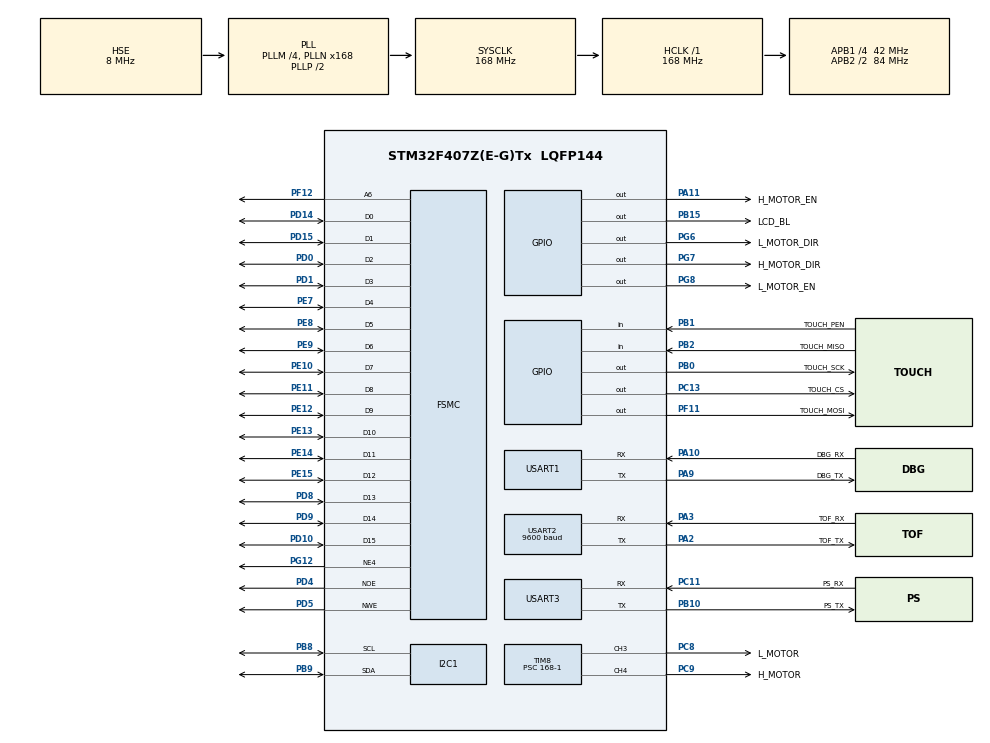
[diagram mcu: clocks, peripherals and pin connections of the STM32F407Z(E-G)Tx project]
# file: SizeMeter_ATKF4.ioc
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FSMC.BusTurnAroundDuration1=0
FSMC.DataSetupTime1=60
FSMC.ExtendedAddressSetupTime1=3
FSMC.ExtendedBusTurnAroundDuration1=0
FSMC.ExtendedDataSetupTime1=3
FSMC.ExtendedMode1=FSMC_EXTENDED_MODE_ENABLE
Mcu.Family=STM32F4
Mcu.Name=STM32F407Z(E-G)Tx
Mcu.Package=LQFP144
NVIC.PriorityGroup=NVIC_PRIORITYGROUP_4
NVIC.TIM1_TRG_COM_TIM11_IRQn=true\:7\:0\:true\:false\:true\:true\:true
NVIC.TIM8_TRG_COM_TIM14_IRQn=true\:13\:0\:true\:false\:true\:true\:true
NVIC.TIM8_UP_TIM13_IRQn=true\:10\:0\:true\:false\:true\:true\:true
NVIC.USART2_IRQn=true\:0\:0\:true\:false\:true\:true\:true
NVIC.USART3_IRQn=true\:0\:0\:false\:false\:true\:true\:true
PA10.GPIO_Label=DBG_RX
PA10.GPIO_Speed=GPIO_SPEED_FREQ_LOW
PA10.Mode=Asynchronous
PA10.Signal=USART1_RX
PA11.GPIO_Label=H_MOTOR_EN
PA11.Signal=GPIO_Output
PA13.Mode=Serial_Wire
PA13.Signal=SYS_JTMS-SWDIO
PA14.Mode=Serial_Wire
PA14.Signal=SYS_JTCK-SWCLK
PA2.GPIO_Label=TOF_TX
PA2.GPIO_Speed=GPIO_SPEED_FREQ_LOW
PA2.Mode=Asynchronous
PA2.Signal=USART2_TX
PA3.GPIO_Label=TOF_RX
PA3.GPIO_Speed=GPIO_SPEED_FREQ_LOW
PA3.Mode=Asynchronous
PA3.Signal=USART2_RX
PA9.GPIO_Label=DBG_TX
PA9.GPIO_Speed=GPIO_SPEED_FREQ_LOW
PA9.Mode=Asynchronous
PA9.Signal=USART1_TX
PB0.GPIO_Label=TOUCH_SCK
PB0.Signal=GPIO_Output
PB1.GPIO_Label=TOUCH_PEN
PB1.Signal=GPIO_Input
PB10.GPIO_Label=PS_TX
PB10.GPIO_Speed=GPIO_SPEED_FREQ_LOW
PB10.Mode=Asynchronous
PB10.Signal=USART3_TX
PB15.GPIO_Label=LCD_BL
PB15.Signal=GPIO_Output
PB2.GPIO_Label=TOUCH_MISO
PB2.Signal=GPIO_Input
PB8.Mode=I2C
PB8.Signal=I2C1_SCL
PB9.Mode=I2C
PB9.Signal=I2C1_SDA
PC11.GPIO_Label=PS_RX
PC11.GPIO_Speed=GPIO_SPEED_FREQ_LOW
PC11.Mode=Asynchronous
PC11.Signal=USART3_RX
PC13-ANTI_TAMP.GPIO_Label=TOUCH_CS
PC13-ANTI_TAMP.Signal=GPIO_Output
PC8.GPIO_Label=L_MOTOR
PC8.Signal=S_TIM8_CH3
PC9.GPIO_Label=H_MOTOR
PC9.Signal=S_TIM8_CH4
PD0.Signal=FSMC_D2_DA2
PD1.Signal=FSMC_D3_DA3
PD10.Signal=FSMC_D15_DA15
PD14.Signal=FSMC_D0_DA0
PD15.Signal=FSMC_D1_DA1
PD4.Signal=FSMC_NOE
PD5.Signal=FSMC_NWE
PD8.Signal=FSMC_D13_DA13
PD9.Signal=FSMC_D14_DA14
PE10.Signal=FSMC_D7_DA7
PE11.Signal=FSMC_D8_DA8
PE12.Signal=FSMC_D9_DA9
PE13.Signal=FSMC_D10_DA10
PE14.Signal=FSMC_D11_DA11
PE15.Signal=FSMC_D12_DA12
PE7.Signal=FSMC_D4_DA4
PE8.Signal=FSMC_D5_DA5
PE9.Signal=FSMC_D6_DA6
PF11.GPIO_Label=TOUCH_MOSI
PF11.Signal=GPIO_Output
PF12.Signal=FSMC_A6
PG12.Mode=NorPsramChipSelect4_1
PG12.Signal=FSMC_NE4
PG6.GPIO_Label=L_MOTOR_DIR
PG6.Signal=GPIO_Output
PG7.GPIO_Label=H_MOTOR_DIR
PG7.Signal=GPIO_Output
PG8.GPIO_Label=L_MOTOR_EN
PG8.Signal=GPIO_Output
PH0-OSC_IN.Mode=HSE-External-Oscillator
PH0-OSC_IN.Signal=RCC_OSC_IN
PH1-OSC_OUT.Mode=HSE-External-Oscillator
PH1-OSC_OUT.Signal=RCC_OSC_OUT
ProjectManager.HeapSize=0x200
ProjectManager.StackSize=0x400
ProjectManager.TargetToolchain=SW4STM32
RCC.48MHZClocksFreq_Value=84000000
RCC.AHBFreq_Value=168000000
RCC.APB1CLKDivider=RCC_HCLK_DIV4
RCC.APB1Freq_Value=42000000
RCC.APB1TimFreq_Value=84000000
RCC.APB2CLKDivider=RCC_HCLK_DIV2
RCC.APB2Freq_Value=84000000
RCC.APB2TimFreq_Value=168000000
RCC.CortexFreq_Value=168000000
RCC.HCLKFreq_Value=168000000
RCC.HSE_VALUE=8000000
RCC.HSI_VALUE=16000000
RCC.LSE_VALUE=32768
RCC.PLLM=4
RCC.PLLN=168
RCC.PLLSourceVirtual=RCC_PLLSOURCE_HSE
RCC.SYSCLKFreq_VALUE=168000000
RCC.SYSCLKSource=RCC_SYSCLKSOURCE_PLLCLK
RCC.VCOOutputFreq_Value=336000000
SH.FSMC_A6.0=FSMC_A6,A6_1
SH.FSMC_D0_DA0.0=FSMC_D0,16b-d1
SH.FSMC_D10_DA10.0=FSMC_D10,16b-d1
SH.FSMC_D11_DA11.0=FSMC_D11,16b-d1
SH.FSMC_D12_DA12.0=FSMC_D12,16b-d1
SH.FSMC_D13_DA13.0=FSMC_D13,16b-d1
SH.FSMC_D14_DA14.0=FSMC_D14,16b-d1
SH.FSMC_D15_DA15.0=FSMC_D15,16b-d1
SH.FSMC_D1_DA1.0=FSMC_D1,16b-d1
SH.FSMC_D2_DA2.0=FSMC_D2,16b-d1
SH.FSMC_D3_DA3.0=FSMC_D3,16b-d1
SH.FSMC_D4_DA4.0=FSMC_D4,16b-d1
SH.FSMC_D5_DA5.0=FSMC_D5,16b-d1
SH.FSMC_D6_DA6.0=FSMC_D6,16b-d1
SH.FSMC_D7_DA7.0=FSMC_D7,16b-d1
SH.FSMC_D8_DA8.0=FSMC_D8,16b-d1
SH.FSMC_D9_DA9.0=FSMC_D9,16b-d1
SH.FSMC_NOE.0=FSMC_NOE,Lcd1
SH.FSMC_NWE.0=FSMC_NWE,Lcd1
SH.S_TIM8_CH3.0=TIM8_CH3,PWM Generation3 CH3
SH.S_TIM8_CH4.0=TIM8_CH4,PWM Generation4 CH4
TIM11.Period=10000-1
TIM11.Prescaler=16800-1
TIM13.AutoReloadPreload=TIM_AUTORELOAD_PRELOAD_ENABLE
TIM13.Prescaler=840-1
TIM14.AutoReloadPreload=TIM_AUTORELOAD_PRELOAD_ENABLE
TIM14.Period=5000-1
TIM14.Prescaler=84-1
TIM8.Channel-PWM\ Generation3\ CH3=TIM_CHANNEL_3
TIM8.Channel-PWM\ Generation4\ CH4=TIM_CHANNEL_4
TIM8.Period=500-1
TIM8.Prescaler=168-1
USART1.VirtualMode=VM_ASYNC
USART2.BaudRate=9600
USART2.VirtualMode=VM_ASYNC
USART3.VirtualMode=VM_ASYNC
VP_TIM11_VS_ClockSourceINT.Mode=Enable_Timer
VP_TIM13_VS_ClockSourceINT.Mode=Enable_Timer
VP_TIM14_VS_ClockSourceINT.Mode=Enable_Timer
board=custom

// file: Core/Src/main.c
/* USER CODE BEGIN Header */
/**
  ******************************************************************************
  * @file           : main.c
  * @brief          : Main program body
  ******************************************************************************
  * @attention
  *
  * <h2><center>&copy; Copyright (c) 2021 STMicroelectronics.
  * All rights reserved.</center></h2>
  *
  * This software component is licensed by ST under BSD 3-Clause license,
  * the "License"; You may not use this file except in compliance with the
  * License. You may obtain a copy of the License at:
  *                        opensource.org/licenses/BSD-3-Clause
  *
  ******************************************************************************
  */
/* USER CODE END Header */
#include "main.h"
#include "i2c.h"
#include "tim.h"
#include "usart.h"
#include "gpio.h"
#include "fsmc.h"

/* USER CODE BEGIN Includes */
#include "lcd.h"
#include "tof.h"
#include "PowerSensor.h"
#include "stdio.h"
#include <porting/lv_port_disp.h>
#include "porting/lv_port_indev.h"
#include <gui_guider.h>
#include <events_init.h>
#include "lvgl.h"
#include "touch.h"
#include "StepMotor.h"
/* USER CODE END Includes */

/* USER CODE BEGIN PV */
lv_ui guider_ui;
/* USER CODE END PV */

void SystemClock_Config(void);
/* USER CODE BEGIN PFP */
int __io_putchar(int ch) {
    uint8_t temp[1] = {ch};
    HAL_UART_Transmit(&huart1, temp, 1, 0xff);
    return (ch);
}
/* USER CODE END PFP */

int main(void)
{

  /* MCU Configuration--------------------------------------------------------*/

  /* Reset of all peripherals, Initializes the Flash interface and the Systick. */
  HAL_Init();

  /* Configure the system clock */
  SystemClock_Config();

  /* Initialize all configured peripherals */
  MX_GPIO_Init();
  MX_FSMC_Init();
  MX_USART1_UART_Init();
  MX_USART2_UART_Init();
  MX_USART3_UART_Init();
  MX_I2C1_Init();
  MX_TIM14_Init();
  MX_TIM13_Init();
  MX_TIM8_Init();
  MX_TIM11_Init();
  /* USER CODE BEGIN 2 */
    lv_init();
    lv_port_disp_init();
    lv_port_indev_init();
    setup_ui(&guider_ui);
    events_init(&guider_ui);

    Motor_Init();

    HAL_TIM_Base_Start_IT(&htim13);
    HAL_TIM_Base_Start_IT(&htim14);

//    LCD_Init();
//    TP_Init();
  /* USER CODE END 2 */

  /* Infinite loop */
  /* USER CODE BEGIN WHILE */
#pragma clang diagnostic push
#pragma ide diagnostic ignored "EndlessLoop"
    while (1) {
//        Lmotor_TurnAngle(25);
//        HAL_Delay(500);
        Hmotor_TurnAngle(45);
        HAL_Delay(500);
//        Lmotor_TurnAngle(-25);
//        HAL_Delay(500);
        Hmotor_TurnAngle(-45);
        HAL_Delay(500);

//        uint16_t tof_dis = TOF_GetDistance();
//        char temp[30];
//        lv_linemeter_set_value(guider_ui.screen_lmeter_1, tof_dis);
//        sprintf(temp, "%d", tof_dis);
//        lv_label_set_text(guider_ui.screen_distance, temp);
//        printf("%d\r\n", tof_dis);
//        LCD_ShowNum(10, 20, tof_dis, 5, 12);
//        PS_GetShapeAndArea();
//        sprintf(temp, "%d", obj.pixel);
//        lv_label_set_text(guider_ui.screen_label_3, temp);
//        LCD_ShowNum(10, 30, (int) obj.color, 1, 12);
//        LCD_ShowNum(10, 40, (int) obj.shape, 1, 12);
//        LCD_ShowNum(10, 50, (int) obj.pixel, 4, 12);
//        printf("%d%d%d\r\n", obj.color, obj.shape, obj.pixel);
    /* USER CODE END WHILE */

    /* USER CODE BEGIN 3 */
    }
#pragma clang diagnostic pop
  /* USER CODE END 3 */
}

void SystemClock_Config(void)
{
  RCC_OscInitTypeDef RCC_OscInitStruct = {0};
  RCC_ClkInitTypeDef RCC_ClkInitStruct = {0};

  /** Configure the main internal regulator output voltage
  */
  __HAL_RCC_PWR_CLK_ENABLE();
  __HAL_PWR_VOLTAGESCALING_CONFIG(PWR_REGULATOR_VOLTAGE_SCALE1);
  /** Initializes the RCC Oscillators according to the specified parameters
  * in the RCC_OscInitTypeDef structure.
  */
  RCC_OscInitStruct.OscillatorType = RCC_OSCILLATORTYPE_HSE;
  RCC_OscInitStruct.HSEState = RCC_HSE_ON;
  RCC_OscInitStruct.PLL.PLLState = RCC_PLL_ON;
  RCC_OscInitStruct.PLL.PLLSource = RCC_PLLSOURCE_HSE;
  RCC_OscInitStruct.PLL.PLLM = 4;
  RCC_OscInitStruct.PLL.PLLN = 168;
  RCC_OscInitStruct.PLL.PLLP = RCC_PLLP_DIV2;
  RCC_OscInitStruct.PLL.PLLQ = 4;
  if (HAL_RCC_OscConfig(&RCC_OscInitStruct) != HAL_OK)
  {
    Error_Handler();
  }
  /** Initializes the CPU, AHB and APB buses clocks
  */
  RCC_ClkInitStruct.ClockType = RCC_CLOCKTYPE_HCLK|RCC_CLOCKTYPE_SYSCLK
                              |RCC_CLOCKTYPE_PCLK1|RCC_CLOCKTYPE_PCLK2;
  RCC_ClkInitStruct.SYSCLKSource = RCC_SYSCLKSOURCE_PLLCLK;
  RCC_ClkInitStruct.AHBCLKDivider = RCC_SYSCLK_DIV1;
  RCC_ClkInitStruct.APB1CLKDivider = RCC_HCLK_DIV4;
  RCC_ClkInitStruct.APB2CLKDivider = RCC_HCLK_DIV2;

  if (HAL_RCC_ClockConfig(&RCC_ClkInitStruct, FLASH_LATENCY_5) != HAL_OK)
  {
    Error_Handler();
  }
}

/* USER CODE BEGIN 4 */
void HAL_UART_RxCpltCallback(UART_HandleTypeDef *huart) {
    if (huart->Instance == huart2.Instance) {
        TOF_UartHandler();
    } else if (huart->Instance == huart3.Instance) {
        PS_UartHandler();
    }
}

void HAL_TIM_PeriodElapsedCallback(TIM_HandleTypeDef *htim) {
    if (htim->Instance == htim14.Instance) {
        lv_tick_inc(5);
        lv_task_handler();
    } else if (htim->Instance == htim13.Instance) {
        TOF_Task();
        PS_Task();
    }else if (htim->Instance == htim11.Instance){
        Motor_StopAll();
    }
}
/* USER CODE END 4 */

void Error_Handler(void)
{
    __disable_irq();
    while (1) {
    }
}

/************************ (C) COPYRIGHT STMicroelectronics *****END OF FILE****/
